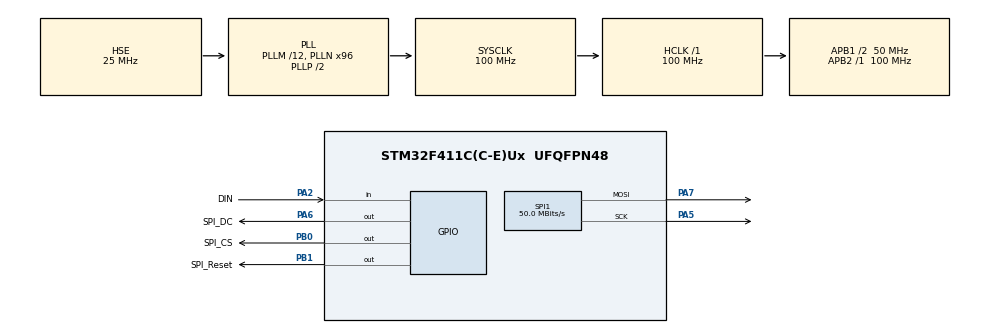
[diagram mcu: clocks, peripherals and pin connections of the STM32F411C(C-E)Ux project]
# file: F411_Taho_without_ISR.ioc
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Dma.Request0=SPI1_TX
Dma.SPI1_TX.0.Direction=DMA_MEMORY_TO_PERIPH
Dma.SPI1_TX.0.FIFOMode=DMA_FIFOMODE_DISABLE
Dma.SPI1_TX.0.Instance=DMA2_Stream2
Dma.SPI1_TX.0.MemDataAlignment=DMA_MDATAALIGN_BYTE
Dma.SPI1_TX.0.MemInc=DMA_MINC_ENABLE
Dma.SPI1_TX.0.Mode=DMA_NORMAL
Dma.SPI1_TX.0.PeriphDataAlignment=DMA_PDATAALIGN_BYTE
Dma.SPI1_TX.0.PeriphInc=DMA_PINC_DISABLE
Dma.SPI1_TX.0.Priority=DMA_PRIORITY_LOW
Mcu.Family=STM32F4
Mcu.Name=STM32F411C(C-E)Ux
Mcu.Package=UFQFPN48
NVIC.DMA2_Stream2_IRQn=true\:0\:0\:false\:false\:true\:false\:true
NVIC.PriorityGroup=NVIC_PRIORITYGROUP_4
NVIC.SPI1_IRQn=true\:0\:0\:false\:false\:true\:true\:true
NVIC.TIM1_BRK_TIM9_IRQn=true\:0\:0\:false\:false\:true\:true\:true
PA13.Mode=Serial_Wire
PA13.Signal=SYS_JTMS-SWDIO
PA14.Mode=Serial_Wire
PA14.Signal=SYS_JTCK-SWCLK
PA2.GPIO_Label=DIN
PA2.GPIO_PuPd=GPIO_PULLUP
PA2.Signal=GPIO_Input
PA5.Mode=TX_Only_Simplex_Unidirect_Master
PA5.Signal=SPI1_SCK
PA6.GPIO_Label=SPI_DC
PA6.Signal=GPIO_Output
PA7.Mode=TX_Only_Simplex_Unidirect_Master
PA7.Signal=SPI1_MOSI
PB0.GPIO_Label=SPI_CS
PB0.Signal=GPIO_Output
PB1.GPIO_Label=SPI_Reset
PB1.Signal=GPIO_Output
PH0\ -\ OSC_IN.Mode=HSE-External-Oscillator
PH0\ -\ OSC_IN.Signal=RCC_OSC_IN
PH1\ -\ OSC_OUT.Mode=HSE-External-Oscillator
PH1\ -\ OSC_OUT.Signal=RCC_OSC_OUT
ProjectManager.HeapSize=0x200
ProjectManager.StackSize=0x400
ProjectManager.TargetToolchain=EWARM V8
RCC.48MHZClocksFreq_Value=50000000
RCC.AHBFreq_Value=100000000
RCC.APB1CLKDivider=RCC_HCLK_DIV2
RCC.APB1Freq_Value=50000000
RCC.APB1TimFreq_Value=100000000
RCC.APB2Freq_Value=100000000
RCC.APB2TimFreq_Value=100000000
RCC.CortexFreq_Value=100000000
RCC.HCLKFreq_Value=100000000
RCC.HSE_VALUE=25000000
RCC.HSI_VALUE=16000000
RCC.LSE_VALUE=32768
RCC.PLLM=12
RCC.PLLN=96
RCC.PLLSourceVirtual=RCC_PLLSOURCE_HSE
RCC.SYSCLKFreq_VALUE=100000000
RCC.SYSCLKSource=RCC_SYSCLKSOURCE_PLLCLK
RCC.VCOOutputFreq_Value=200000000
SPI1.CalculateBaudRate=50.0 MBits/s
SPI1.Direction=SPI_DIRECTION_2LINES
SPI1.Mode=SPI_MODE_MASTER
SPI1.VirtualType=VM_MASTER
TIM9.Period=5000
TIM9.Prescaler=9999
VP_TIM9_VS_ClockSourceINT.Mode=Internal
board=custom

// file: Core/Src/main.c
/* USER CODE BEGIN Header */
/**
  ******************************************************************************
  * @file           : main.c
  * @brief          : Main program body
  ******************************************************************************
  * @attention
  *
  * <h2><center>&copy; Copyright (c) 2022 STMicroelectronics.
  * All rights reserved.</center></h2>
  *
  * This software component is licensed by ST under BSD 3-Clause license,
  * the "License"; You may not use this file except in compliance with the
  * License. You may obtain a copy of the License at:
  *                        opensource.org/licenses/BSD-3-Clause
  *
  ******************************************************************************
  */
/* USER CODE END Header */
#include "main.h"

/* USER CODE BEGIN Includes */
#include "stdio.h"
#include "ssd1306.h"
#include "fonts.h"
#include "filter_sma.h"
/* USER CODE END Includes */

/* USER CODE BEGIN PD */
#define    DWT_CYCCNT    *(volatile uint32_t*)0xE0001004
#define    DWT_CONTROL   *(volatile uint32_t*)0xE0001000
#define    SCB_DEMCR     *(volatile uint32_t*)0xE000EDFC
/* USER CODE END PD */

SPI_HandleTypeDef hspi1;
DMA_HandleTypeDef hdma_spi1_tx;

TIM_HandleTypeDef htim9;

/* USER CODE BEGIN PV */
uint8_t check = 0;
float rev_time = 0;
unsigned int pulseWidth = 0;
unsigned char transmit_buffer[] = {0};
unsigned int flash = 0;
unsigned int lastflash = 0;
extern uint8_t count;
extern uint8_t flag;
/* USER CODE END PV */

void SystemClock_Config(void);
static void MX_GPIO_Init(void);
static void MX_DMA_Init(void);
static void MX_SPI1_Init(void);
static void MX_TIM9_Init(void);

/* USER CODE BEGIN 0 */
void DWT_Init(void)
{
    SCB_DEMCR |= CoreDebug_DEMCR_TRCENA_Msk;
    DWT_CONTROL |= DWT_CTRL_CYCCNTENA_Msk;
}
/* USER CODE END 0 */

int main(void)
{

  /* MCU Configuration--------------------------------------------------------*/

  /* Reset of all peripherals, Initializes the Flash interface and the Systick. */
  HAL_Init();

  /* Configure the system clock */
  SystemClock_Config();

  /* Initialize all configured peripherals */
  MX_GPIO_Init();
  MX_DMA_Init();
  MX_SPI1_Init();
  MX_TIM9_Init();
  /* USER CODE BEGIN 2 */
  DWT_Init();
  SSD1306_Init();
  SSD1306_DrawRectangle(4, 5, 5, 4, SSD1306_PX_CLR_WHITE);
  SSD1306_UpdateScreen();
  HAL_TIM_Base_Start_IT(&htim9);
  /* USER CODE END 2 */

  /* Infinite loop */
  /* USER CODE BEGIN WHILE */
  while (1)
  {
    if (HAL_GPIO_ReadPin(DIN_GPIO_Port, DIN_Pin) == 0)
    {
      count = 0;
      unsigned short i = 0;
      while (HAL_GPIO_ReadPin(DIN_GPIO_Port, DIN_Pin) == 0)
      {
        i++;
        if (i >= 1000 && check == 0)
        {
          check = 1;
          flash = (DWT_CYCCNT/100) - lastflash;
          lastflash = DWT_CYCCNT/100;
          rev_time = (float) flash / 1000000; //revolution time
          pulseWidth = (float) 60 / rev_time; //RPM
        }
      }
    }
    check = 0;
    if (flag == 1)
    {
      flag = 0;
      SSD1306_Clear();
      sprintf((char*)transmit_buffer, "%d", MedianFilter(Filter_SMA(pulseWidth)));
      SSD1306_GotoXY(0,5);
      SSD1306_Puts((char*)transmit_buffer, &Font_16x26, SSD1306_PX_CLR_WHITE);
      SSD1306_UpdateScreen();
    }
    /* USER CODE END WHILE */

  }
}

void SystemClock_Config(void)
{
  RCC_OscInitTypeDef RCC_OscInitStruct = {0};
  RCC_ClkInitTypeDef RCC_ClkInitStruct = {0};

  /** Configure the main internal regulator output voltage
  */
  __HAL_RCC_PWR_CLK_ENABLE();
  __HAL_PWR_VOLTAGESCALING_CONFIG(PWR_REGULATOR_VOLTAGE_SCALE1);
  /** Initializes the RCC Oscillators according to the specified parameters
  * in the RCC_OscInitTypeDef structure.
  */
  RCC_OscInitStruct.OscillatorType = RCC_OSCILLATORTYPE_HSE;
  RCC_OscInitStruct.HSEState = RCC_HSE_ON;
  RCC_OscInitStruct.PLL.PLLState = RCC_PLL_ON;
  RCC_OscInitStruct.PLL.PLLSource = RCC_PLLSOURCE_HSE;
  RCC_OscInitStruct.PLL.PLLM = 12;
  RCC_OscInitStruct.PLL.PLLN = 96;
  RCC_OscInitStruct.PLL.PLLP = RCC_PLLP_DIV2;
  RCC_OscInitStruct.PLL.PLLQ = 4;
  if (HAL_RCC_OscConfig(&RCC_OscInitStruct) != HAL_OK)
  {
    Error_Handler();
  }
  /** Initializes the CPU, AHB and APB buses clocks
  */
  RCC_ClkInitStruct.ClockType = RCC_CLOCKTYPE_HCLK|RCC_CLOCKTYPE_SYSCLK
                              |RCC_CLOCKTYPE_PCLK1|RCC_CLOCKTYPE_PCLK2;
  RCC_ClkInitStruct.SYSCLKSource = RCC_SYSCLKSOURCE_PLLCLK;
  RCC_ClkInitStruct.AHBCLKDivider = RCC_SYSCLK_DIV1;
  RCC_ClkInitStruct.APB1CLKDivider = RCC_HCLK_DIV2;
  RCC_ClkInitStruct.APB2CLKDivider = RCC_HCLK_DIV1;

  if (HAL_RCC_ClockConfig(&RCC_ClkInitStruct, FLASH_LATENCY_3) != HAL_OK)
  {
    Error_Handler();
  }
}

static void MX_SPI1_Init(void)
{

  /* SPI1 parameter configuration*/
  hspi1.Instance = SPI1;
  hspi1.Init.Mode = SPI_MODE_MASTER;
  hspi1.Init.Direction = SPI_DIRECTION_2LINES;
  hspi1.Init.DataSize = SPI_DATASIZE_8BIT;
  hspi1.Init.CLKPolarity = SPI_POLARITY_LOW;
  hspi1.Init.CLKPhase = SPI_PHASE_1EDGE;
  hspi1.Init.NSS = SPI_NSS_SOFT;
  hspi1.Init.BaudRatePrescaler = SPI_BAUDRATEPRESCALER_2;
  hspi1.Init.FirstBit = SPI_FIRSTBIT_MSB;
  hspi1.Init.TIMode = SPI_TIMODE_DISABLE;
  hspi1.Init.CRCCalculation = SPI_CRCCALCULATION_DISABLE;
  hspi1.Init.CRCPolynomial = 10;
  if (HAL_SPI_Init(&hspi1) != HAL_OK)
  {
    Error_Handler();
  }

}

static void MX_TIM9_Init(void)
{

  TIM_ClockConfigTypeDef sClockSourceConfig = {0};

  htim9.Instance = TIM9;
  htim9.Init.Prescaler = 9999;
  htim9.Init.CounterMode = TIM_COUNTERMODE_UP;
  htim9.Init.Period = 5000;
  htim9.Init.ClockDivision = TIM_CLOCKDIVISION_DIV1;
  htim9.Init.AutoReloadPreload = TIM_AUTORELOAD_PRELOAD_DISABLE;
  if (HAL_TIM_Base_Init(&htim9) != HAL_OK)
  {
    Error_Handler();
  }
  sClockSourceConfig.ClockSource = TIM_CLOCKSOURCE_INTERNAL;
  if (HAL_TIM_ConfigClockSource(&htim9, &sClockSourceConfig) != HAL_OK)
  {
    Error_Handler();
  }

}

static void MX_DMA_Init(void)
{

  /* DMA controller clock enable */
  __HAL_RCC_DMA2_CLK_ENABLE();

  /* DMA interrupt init */
  /* DMA2_Stream2_IRQn interrupt configuration */
  HAL_NVIC_SetPriority(DMA2_Stream2_IRQn, 0, 0);
  HAL_NVIC_EnableIRQ(DMA2_Stream2_IRQn);

}

static void MX_GPIO_Init(void)
{
  GPIO_InitTypeDef GPIO_InitStruct = {0};

  /* GPIO Ports Clock Enable */
  __HAL_RCC_GPIOH_CLK_ENABLE();
  __HAL_RCC_GPIOA_CLK_ENABLE();
  __HAL_RCC_GPIOB_CLK_ENABLE();

  /*Configure GPIO pin Output Level */
  HAL_GPIO_WritePin(SPI_DC_GPIO_Port, SPI_DC_Pin, GPIO_PIN_RESET);

  /*Configure GPIO pin Output Level */
  HAL_GPIO_WritePin(GPIOB, SPI_CS_Pin|SPI_Reset_Pin, GPIO_PIN_RESET);

  /*Configure GPIO pin : DIN_Pin */
  GPIO_InitStruct.Pin = DIN_Pin;
  GPIO_InitStruct.Mode = GPIO_MODE_INPUT;
  GPIO_InitStruct.Pull = GPIO_PULLUP;
  HAL_GPIO_Init(DIN_GPIO_Port, &GPIO_InitStruct);

  /*Configure GPIO pin : SPI_DC_Pin */
  GPIO_InitStruct.Pin = SPI_DC_Pin;
  GPIO_InitStruct.Mode = GPIO_MODE_OUTPUT_PP;
  GPIO_InitStruct.Pull = GPIO_NOPULL;
  GPIO_InitStruct.Speed = GPIO_SPEED_FREQ_LOW;
  HAL_GPIO_Init(SPI_DC_GPIO_Port, &GPIO_InitStruct);

  /*Configure GPIO pins : SPI_CS_Pin SPI_Reset_Pin */
  GPIO_InitStruct.Pin = SPI_CS_Pin|SPI_Reset_Pin;
  GPIO_InitStruct.Mode = GPIO_MODE_OUTPUT_PP;
  GPIO_InitStruct.Pull = GPIO_NOPULL;
  GPIO_InitStruct.Speed = GPIO_SPEED_FREQ_LOW;
  HAL_GPIO_Init(GPIOB, &GPIO_InitStruct);

}

void Error_Handler(void)
{
  __disable_irq();
  while (1)
  {
  }
}

/************************ (C) COPYRIGHT STMicroelectronics *****END OF FILE****/
